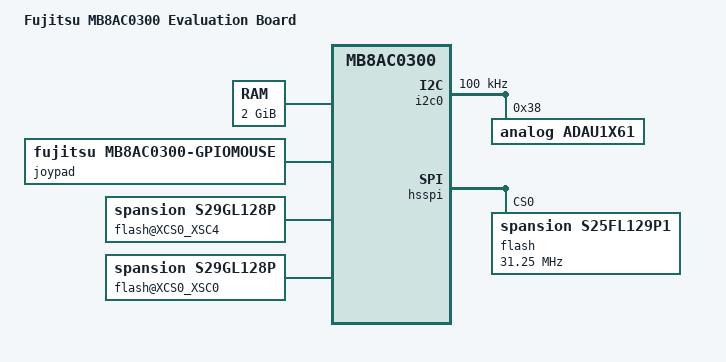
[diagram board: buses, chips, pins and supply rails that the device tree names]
/*
 * Copyright (C) 2013-2015 Linaro, LTD for FUJITSU SEMICONDUCTOR LIMITED
 * Copyright (C) 2015-2016 Socionext Inc.
 *
 * This program is free software; you can redistribute it and/or modify
 * it under the terms of the GNU General Public License version 2 as
 * published by the Free Software Foundation.
 */
/dts-v1/;

/include/ "mb8ac0300.dtsi"

/ {
	model = "Fujitsu MB8AC0300 Evaluation Board";
	compatible = "fujitsu,mb8ac0300eb", "fujitsu,mb8ac0300";

	aliases {
		serial0 = &uart0;
		serial1 = &uart1;
	};

	memory {
		device_type = "memory";
		reg = <0x40000000 0x80000000>; /* 2 GB */
	};

	chosen {
		bootargs = "loglevel=4 console=ttyS0,115200 root=/dev/mmcblk0p2 rootfstype=ext4 rootwait rw                                                                                         ";
		linux,initrd-start = <0x70000000>;
		linux,initrd-end = <0x70000000>;
	};

	alsa: mb8ac0300_adau1361 {
		compatible = "fujitsu,mb8ac0300_adau1361";
		channel = <0>;
		ms_mode = <0x4000>; // SND_SOC_DAIFMT_CBS_CFS
		format = <1>; // SND_SOC_DAIFMT_I2S
		use_eclk = <1>; // 0 = AHB
	};

	joypad: gpiomouse {
		compatible = "fujitsu,mb8ac0300-gpiomouse";
		scan_ms = <20>;
		polarity = <0>; // GPIO_MOUSE_POLARITY_ACT_HIGH
		pins = < 16 17 18 19 21 20 22 >;
	};

	gpio-revision {
		compatible = "fujitsu,gpio-revision";
	};

	i2c0 {
		status = "ok";
		compatible = "fujitsu,f_i2c";
		reg = <0xfff73000 0x1000>;
		interrupts = <0 91 0x4>;
		clocks = <&clk_main_6_1>;
		clock-frequency = <100000>;
		#address-cells = <1>;
		#size-cells = <0>;

		adau1x61: adau1x61@38 {
			compatible = "analog,adau1x61";
			reg = <0x38>;
		};
	};

	/* if you started by XCS0 boot path */

	flash@XCS0_XSC4 {
		status = "okay";
		compatible = "spansion,s29gl128p", "cfi-flash";
		reg = <0x04000000 0x02000000>;
		bank-width = <4>;
		device-width = <2>;
	};

	flash@XCS0_XSC0 {
		status = "okay";
		compatible = "spansion,s29gl128p", "cfi-flash";
		reg = <0x11000000 0x01000000>;
		bank-width = <1>;
		device-width = <1>;
                #address-cells = <1>;
                #size-cells = <1>;


                part0@0 {
                       label = "xsc0-bootloader";
                       reg = <0 0x200000>;
                };
                part1@1 {
                       label = "xcs0-romfs";
                       reg = <0x200000 0xe00000>;
                };


	};

	/* if you started by XCS4 boot path */

	flash@XCS4_XSC4 {
		status = "----";
		compatible = "spansion,s29gl128p", "cfi-flash";
		reg = <0x10000000 0x01000000>;
		bank-width = <4>;
		device-width = <2>;
	};

	flash@XCS4_XSC0 {
		status = "----";
		compatible = "spansion,s29gl128p", "cfi-flash";
		reg = <0x04000000 0x01000000>;
		bank-width = <1>;
		device-width = <1>;
	};

	hsspi: hsspi.0 {
		compatible = "fujitsu,mb86s7x-hsspi";
		reg = <0xfff46000 0x1000>,
		      <0x12000000 0x1000000>;
		interrupts = <0 77 0x4>,
			     <0 76 0x4>,
			     <0 78 0x4>;
		mode = <1>; // HS_SPI_DIRECT_MODE
		read_operation = <1>; // HS_SPI_NORMAL_READ
		write_operation = <5>; // HS_SPI_NORMAL_WRITE
		bank_size = <0x01000000>;	// 16MB flash bank
		num_chipselect = <4>;
		addr_width = <3>;
		dma_rx_dreq = <0x800000>; // XDDES_TF_DREQ6
		dma_tx_dreq = <0x900000>; // XDDES_TF_DREQ7
		dma_channel = <0>;
		sync_on = <1>;
		clock = <0>; // HS_SPI_HCLK
		clocks = <&clk_main_4_3>, <&clk_main_4_3>;
		clock-names = "iHCLK", "iPCLK";
		#address-cells = <1>;
	        #size-cells = <0>;

		flash@0 {
			compatible = "spansion,s25fl129p1";
			spi-max-frequency = <31250000>;
			reg = <0>;
			eeprom-size = <0x01000000>;
			eeprom-name = "spiflash";
			rx-bitwidth = <3>; /* quad */
			tx-bitwidth = <3>; /* quad */
		    };
	};

	videomodes@0 {
		compatible = "video-modes";
		native-mode = <&mode1>;
		mode0: mode@0 {
			mode  = "800x430x24bpp";
			hactive = <800>;
			vactive = <430>;
			hback-porch = <116>;
			hfront-porch = <6>;
			hsync-len = <134>;
			vback-porch = <83>;
			vfront-porch = <2>;
			vsync-len = <10>;
			clock = <25000>;
			bpp = <24>;
			red_offset      = <0>;
			red_length      = <8>;
			green_offset    = <8>;
			green_length    = <8>;
			blue_offset     = <16>;
			blue_length     = <8>;
			alpha_offset    = <24>;
			alpha_length    = <8>;
		};
		mode1: mode@1 {
			mode  = "800x430x16bpp";
			hactive = <800>;
			vactive = <430>;
			xres-virtual = <800>;
			yres-virtual = <860>;
			hback-porch = <116>;
			hfront-porch = <6>;
			hsync-len = <134>;
			vback-porch = <83>;
			vfront-porch = <2>;
			vsync-len = <10>;
			clock = <25000>;
			bpp = <16>;
			red_offset      = <11>;
			red_length      = <5>;
			green_offset    = <5>;
			green_length    = <6>;
			blue_offset     = <0>;
			blue_length     = <5>;
			alpha_offset    = <0>;
			alpha_length    = <0>;
		};

		/* this suits the fixed 640x480 DVI output on mb8ac0300 EVB */
		mode2: mode@2 {
			mode  = "800x480x24bpp";
			hactive = <800>;
			vactive = <480>;
			hback-porch = <116>;
			hfront-porch = <6>;
			hsync-len = <134>;
			vback-porch = <33>;
			vfront-porch = <2>;
			vsync-len = <10>;
			clock = <25000>;
			bpp = <24>;
			red_offset      = <0>;
			red_length      = <8>;
			green_offset    = <8>;
			green_length    = <8>;
			blue_offset     = <16>;
			blue_length     = <8>;
			alpha_offset    = <24>;
			alpha_length    = <8>;
		};

		mode3: mode@3 {
			mode  = "800x480x16bpp";
			hactive = <800>;
			vactive = <480>;
			xres-virtual = <800>;
			yres-virtual = <960>;
			hback-porch = <116>;
			hfront-porch = <6>;
			hsync-len = <134>;
			vback-porch = <33>;
			vfront-porch = <2>;
			vsync-len = <10>;
			clock = <25000>;
			bpp = <16>;
			red_offset      = <11>;
			red_length      = <5>;
			green_offset    = <5>;
			green_length    = <6>;
			blue_offset     = <0>;
			blue_length     = <5>;
			alpha_offset    = <0>;
			alpha_length    = <0>;
		};

	};
};
